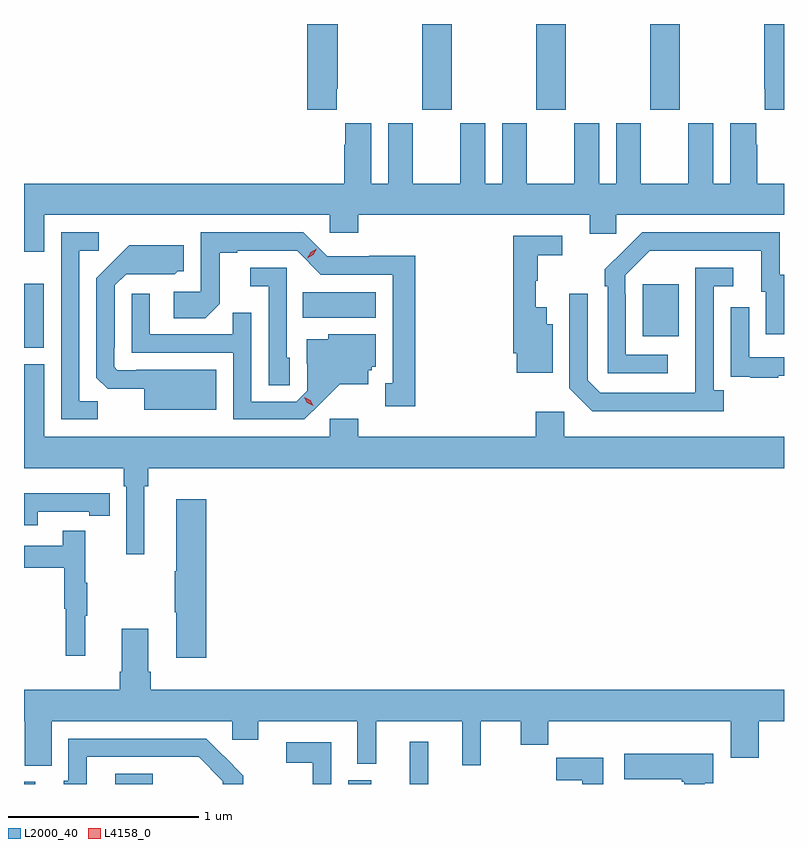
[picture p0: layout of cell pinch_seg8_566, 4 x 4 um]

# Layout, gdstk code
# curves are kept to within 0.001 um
import gdstk
lib = gdstk.Library(unit=1e-6, precision=1e-09)
def R(c, l, rs):  # rectangles x0, y0, x1, y1
    for r in rs: c.add(gdstk.rectangle(r[:2], r[2:], *l))
def A(c, l, x, y, w, h, nx, ny, dx, dy):  # array of equal rectangles
    R(c, l, [(x+i*dx, y+j*dy, x+i*dx+w, y+j*dy+h) for i in range(nx) for j in range(ny)])
def P(c, l, *ps):  # polygons
    for p in ps: c.add(gdstk.Polygon(p, *l))
L2000_40 = (2000, 40)
L4158_0 = (4158, 0)

pinch_seg8_566 = lib.new_cell('pinch_seg8_566')
A(pinch_seg8_566, L2000_40, 149.539, 1086.417, 0.155, 0.452, 3, 1, 0.6, 0)
R(pinch_seg8_566, L2000_40, [(147.444,1082.869,147.502,1082.88), (147.924,1082.869,148.122,1082.922), (149.15,1082.869,149.272,1082.89), (149.475,1082.869,149.572,1083.091), (147.444,1085.165,147.547,1085.503), (150.701,1085.225,150.889,1085.5), (148.912,1085.324,149.296,1085.458)])
P(pinch_seg8_566, L2000_40, [(149.089,1086.529),(149.094,1086.529),(149.094,1086.869),(148.934,1086.869),(148.934,1086.417),(149.089,1086.417)],
  [(151.444,1086.869),(151.339,1086.869),(151.339,1086.529),(151.343,1086.529),(151.343,1086.417),(151.444,1086.417)],
  [(147.55,1085.864),(149.052,1085.864),(149.052,1085.771),(149.204,1085.771),(149.204,1085.864),(150.422,1085.864),(150.422,1085.766),(150.561,1085.766),(150.561,1085.864),(151.444,1085.864),(151.444,1086.028),(151.304,1086.028),(151.304,1086.233),(151.297,1086.233),(151.297,1086.346),(151.16,1086.346),(151.16,1086.028),(151.072,1086.028),(151.072,1086.346),(150.941,1086.346),(150.941,1086.028),(150.691,1086.028),(150.691,1086.346),(150.56,1086.346),(150.56,1086.028),(150.472,1086.028),(150.472,1086.346),(150.341,1086.346),(150.341,1086.028),(150.091,1086.028),(150.091,1086.346),(149.96,1086.346),(149.96,1086.028),(149.872,1086.028),(149.872,1086.346),(149.741,1086.346),(149.741,1086.028),(149.491,1086.028),(149.491,1086.346),(149.36,1086.346),(149.36,1086.028),(149.272,1086.028),(149.272,1086.346),(149.135,1086.346),(149.135,1086.233),(149.129,1086.233),(149.129,1086.028),(147.444,1086.028),(147.444,1085.67),(147.55,1085.67)],
  [(149.503,1085.648),(149.262,1085.648),(149.262,1085.646),(149.04,1085.646),(148.914,1085.772),(148.374,1085.772),(148.374,1085.46),(148.233,1085.46),(148.233,1085.32),(148.397,1085.32),(148.473,1085.396),(148.473,1085.664),(148.567,1085.664),(148.567,1085.676),(148.881,1085.676),(149.007,1085.55),(149.384,1085.55),(149.384,1084.977),(149.345,1084.977),(149.345,1084.857),(149.503,1084.857)],
  [(150.832,1085.127),(150.612,1085.127),(150.612,1085.447),(150.609,1085.447),(150.609,1085.547),(150.738,1085.676),(151.325,1085.676),(151.325,1085.46),(151.349,1085.46),(151.349,1085.235),(151.444,1085.235),(151.444,1085.55),(151.422,1085.55),(151.422,1085.772),(150.698,1085.772),(150.501,1085.577),(150.501,1085.489),(150.516,1085.489),(150.516,1085.031),(150.832,1085.031)],
  [(147.831,1084.883),(147.735,1084.883),(147.735,1085.676),(147.838,1085.676),(147.838,1085.772),(147.639,1085.772),(147.639,1084.788),(147.831,1084.788)],
  [(150.226,1085.29),(150.196,1085.29),(150.196,1085.377),(150.137,1085.377),(150.137,1085.517),(150.148,1085.517),(150.148,1085.653),(150.277,1085.653),(150.277,1085.754),(150.019,1085.754),(150.019,1085.137),(150.038,1085.137),(150.038,1085.033),(150.226,1085.033)],
  [(148.456,1085.05),(148.036,1085.05),(148.036,1085.046),(147.936,1085.046),(147.918,1085.064),(147.918,1085.164),(147.921,1085.164),(147.921,1085.493),(147.981,1085.553),(148.238,1085.552),(148.254,1085.568),(148.285,1085.568),(148.285,1085.704),(147.997,1085.704),(147.825,1085.53),(147.825,1085.008),(147.884,1084.949),(148.076,1084.949),(148.076,1084.838),(148.456,1084.838)],
  [(148.842,1085.112),(148.827,1085.112),(148.827,1085.586),(148.635,1085.586),(148.635,1085.489),(148.731,1085.489),(148.731,1084.969),(148.842,1084.969)],
  [(151.126,1084.942),(151.074,1084.942),(151.074,1085.49),(151.177,1085.49),(151.177,1085.586),(150.978,1085.586),(150.977,1084.929),(150.477,1084.929),(150.411,1084.995),(150.411,1085.449),(150.315,1085.449),(150.315,1084.953),(150.436,1084.832),(151.126,1084.832)],
  [(149.002,1084.871),(149.105,1084.973),(149.257,1084.973),(149.257,1085.046),(149.274,1085.046),(149.274,1085.064),(149.296,1085.064),(149.296,1085.236),(149.046,1085.236),(149.046,1085.209),(148.931,1085.209),(148.931,1085.08),(148.935,1085.08),(148.935,1084.938),(148.878,1084.881),(148.641,1084.881),(148.641,1085.348),(148.543,1085.348),(148.543,1085.235),(148.107,1085.235),(148.107,1085.449),(148.011,1085.449),(148.011,1085.139),(148.545,1085.139),(148.545,1084.788),(148.918,1084.788)],
  [(151.415,1085.019),(151.444,1085.019),(151.444,1085.115),(151.26,1085.115),(151.26,1085.377),(151.164,1085.377),(151.164,1085.122),(151.165,1085.122),(151.165,1085.013),(151.267,1085.013),(151.267,1085.007),(151.415,1085.007)],
  [(148.078,1084.436),(148.097,1084.436),(148.097,1084.532),(151.444,1084.532),(151.444,1084.696),(150.288,1084.696),(150.288,1084.828),(150.137,1084.828),(150.137,1084.696),(149.204,1084.696),(149.204,1084.792),(149.052,1084.792),(149.052,1084.696),(147.55,1084.696),(147.55,1085.077),(147.444,1085.077),(147.444,1084.532),(147.968,1084.532),(147.968,1084.436),(147.981,1084.436),(147.981,1084.077),(148.078,1084.077)],
  [(147.516,1084.302),(147.788,1084.302),(147.788,1084.282),(147.896,1084.282),(147.896,1084.398),(147.788,1084.398),(147.788,1084.399),(147.444,1084.399),(147.444,1084.23),(147.516,1084.23)],
  [(148.403,1084.369),(148.244,1084.369),(148.244,1083.989),(148.237,1083.989),(148.237,1083.772),(148.244,1083.772),(148.244,1083.534),(148.403,1083.534)],
  [(147.767,1083.755),(147.778,1083.755),(147.778,1083.929),(147.767,1083.929),(147.767,1084.201),(147.649,1084.201),(147.649,1084.122),(147.444,1084.122),(147.444,1084.006),(147.657,1084.006),(147.657,1083.792),(147.664,1083.792),(147.664,1083.543),(147.767,1083.543)],
  [(147.589,1083.2),(148.539,1083.2),(148.539,1083.102),(148.678,1083.102),(148.678,1083.2),(149.198,1083.2),(149.198,1082.975),(149.297,1082.975),(149.297,1083.2),(149.75,1083.2),(149.75,1082.967),(149.849,1082.967),(149.849,1083.2),(150.059,1083.2),(150.059,1083.076),(150.203,1083.076),(150.203,1083.2),(151.163,1083.2),(151.163,1083.006),(151.311,1083.006),(151.311,1083.2),(151.444,1083.2),(151.444,1083.364),(148.112,1083.364),(148.112,1083.46),(148.099,1083.46),(148.099,1083.685),(147.959,1083.685),(147.959,1083.46),(147.947,1083.46),(147.947,1083.364),(147.444,1083.364),(147.444,1083.2),(147.449,1083.2),(147.449,1082.965),(147.589,1082.965)],
  [(147.775,1083.012),(148.363,1083.012),(148.491,1082.883),(148.491,1082.869),(148.599,1082.869),(148.599,1082.913),(148.402,1083.108),(147.678,1083.108),(147.678,1082.886),(147.653,1082.886),(147.653,1082.869),(147.775,1082.869)],
  [(149.061,1083.09),(148.824,1083.09),(148.824,1082.982),(148.964,1082.982),(148.964,1082.869),(149.061,1082.869)],
  [(151.027,1082.874),(151.072,1082.874),(151.072,1083.028),(150.603,1083.028),(150.603,1082.894),(150.907,1082.894),(150.907,1082.881),(150.92,1082.881),(150.92,1082.869),(151.027,1082.869)],
  [(150.493,1083.007),(150.244,1083.007),(150.244,1082.888),(150.383,1082.888),(150.383,1082.869),(150.493,1082.869)])
P(pinch_seg8_566, L4158_0, [(148.935,1085.636),(148.935,1085.636),(148.952,1085.668),(148.984,1085.687),(148.984,1085.687),(148.984,1085.687),(148.967,1085.654),(148.935,1085.636)],
  [(148.966,1084.859),(148.936,1084.875),(148.919,1084.905),(148.919,1084.905),(148.919,1084.905),(148.95,1084.889),(148.966,1084.86),(148.966,1084.859)])

lib.write_gds('pinch_seg8_566.gds')
